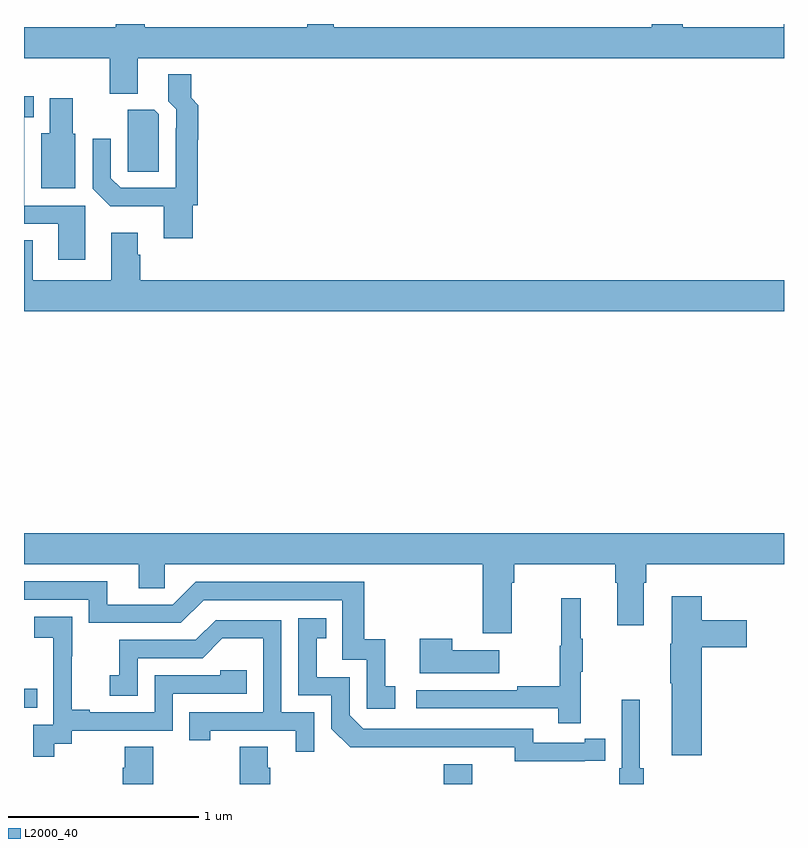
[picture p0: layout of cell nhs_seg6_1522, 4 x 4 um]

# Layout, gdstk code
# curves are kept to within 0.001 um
import gdstk
lib = gdstk.Library(unit=1e-6, precision=1e-09)
def R(c, l, rs):  # rectangles x0, y0, x1, y1
    for r in rs: c.add(gdstk.rectangle(r[:2], r[2:], *l))
def P(c, l, *ps):  # polygons
    for p in ps: c.add(gdstk.Polygon(p, *l))
L2000_40 = (2000, 40)

nhs_seg6_1522 = lib.new_cell('nhs_seg6_1522')
R(nhs_seg6_1522, L2000_40, [(205.208,959.5,205.36,959.605), (203,959.901,203.069,960.002)])
P(nhs_seg6_1522, L2000_40, [(203.599,963.32),(207,963.32),(207,963.5),(206.999,963.5),(206.999,963.484),(206.468,963.484),(206.468,963.5),(206.303,963.5),(206.303,963.484),(204.63,963.484),(204.63,963.5),(204.491,963.5),(204.491,963.484),(203.635,963.484),(203.635,963.5),(203.483,963.5),(203.483,963.484),(203,963.484),(203,963.32),(203.452,963.32),(203.452,963.133),(203.599,963.133)],
  [(203.888,962.547),(203.915,962.547),(203.915,962.89),(203.918,962.89),(203.918,963.072),(203.879,963.111),(203.879,963.235),(203.759,963.235),(203.759,963.094),(203.802,963.051),(203.802,962.951),(203.799,962.951),(203.799,962.637),(203.508,962.637),(203.457,962.688),(203.457,962.896),(203.361,962.896),(203.361,962.634),(203.455,962.54),(203.735,962.54),(203.735,962.373),(203.888,962.373)],
  [(203.323,962.544),(203.002,962.544),(203.002,963.008),(203.05,963.008),(203.05,963.121),(203,963.121),(203,962.448),(203.18,962.448),(203.18,962.259),(203.323,962.259)],
  [(203.269,962.922),(203.257,962.922),(203.257,963.109),(203.135,963.109),(203.135,962.926),(203.09,962.926),(203.09,962.636),(203.269,962.636)],
  [(203.709,963.024),(203.685,963.048),(203.546,963.048),(203.546,962.833),(203.547,962.833),(203.547,962.722),(203.709,962.722)],
  [(207,962.152),(203.612,962.152),(203.612,962.285),(203.599,962.285),(203.599,962.401),(203.459,962.401),(203.459,962.152),(203.047,962.152),(203.047,962.363),(203,962.363),(203,961.988),(207,961.988)],
  [(205.567,960.56),(205.58,960.56),(205.58,960.656),(206.111,960.656),(206.111,960.56),(206.123,960.56),(206.123,960.336),(206.263,960.336),(206.263,960.56),(206.276,960.56),(206.276,960.656),(207,960.656),(207,960.82),(203,960.82),(203,960.656),(203.603,960.656),(203.603,960.529),(203.742,960.529),(203.742,960.656),(205.415,960.656),(205.415,960.294),(205.567,960.294)],
  [(204.955,960.015),(204.902,960.015),(204.902,960.262),(204.791,960.262),(204.791,960.564),(203.904,960.564),(203.784,960.444),(203.437,960.444),(203.437,960.567),(203,960.567),(203,960.471),(203.34,960.471),(203.34,960.348),(203.826,960.348),(203.946,960.468),(204.675,960.468),(204.675,960.153),(204.804,960.153),(204.804,959.895),(204.955,959.895)],
  [(206.567,960.221),(206.803,960.221),(206.803,960.363),(206.567,960.363),(206.567,960.487),(206.408,960.487),(206.408,960.237),(206.401,960.237),(206.401,960.031),(206.408,960.031),(206.408,959.652),(206.567,959.652)],
  [(205.931,960.091),(205.942,960.091),(205.942,960.265),(205.931,960.265),(205.931,960.478),(205.828,960.478),(205.828,960.228),(205.821,960.228),(205.821,960.014),(205.597,960.014),(205.597,959.994),(205.065,959.994),(205.065,959.898),(205.813,959.898),(205.813,959.82),(205.931,959.82)],
  [(203.158,959.713),(203.25,959.713),(203.25,959.781),(203.784,959.781),(203.784,959.976),(204.173,959.976),(204.173,960.099),(204.033,960.099),(204.033,960.072),(203.688,960.072),(203.688,959.877),(203.347,959.877),(203.347,959.89),(203.252,959.89),(203.252,960.173),(203.253,960.173),(203.253,960.379),(203.055,960.379),(203.055,960.269),(203.153,960.269),(203.153,960.041),(203.154,960.041),(203.154,959.811),(203.049,959.811),(203.049,959.643),(203.158,959.643)],
  [(205.952,959.622),(206.06,959.622),(206.06,959.738),(205.952,959.738),(205.952,959.718),(205.68,959.718),(205.68,959.79),(204.786,959.79),(204.714,959.862),(204.714,960.063),(204.541,960.063),(204.541,960.267),(204.59,960.267),(204.59,960.373),(204.444,960.373),(204.444,959.967),(204.618,959.967),(204.618,959.79),(204.716,959.693),(205.584,959.694),(205.584,959.621)],
  [(204.528,959.877),(204.354,959.877),(204.354,960.363),(204.008,960.363),(203.903,960.258),(203.5,960.258),(203.5,960.073),(203.451,960.073),(203.451,959.964),(203.598,959.964),(203.598,960.162),(203.94,960.162),(204.044,960.266),(204.258,960.266),(204.258,959.877),(203.869,959.877),(203.869,959.73),(203.98,959.73),(203.98,959.781),(204.431,959.781),(204.431,959.67),(204.528,959.67)],
  [(205.501,960.205),(205.253,960.205),(205.253,960.265),(205.082,960.265),(205.082,960.083),(205.501,960.083)],
  [(206.261,959.584),(206.242,959.584),(206.242,959.944),(206.145,959.944),(206.145,959.584),(206.132,959.584),(206.132,959.5),(206.261,959.5)],
  [(203.679,959.696),(203.531,959.696),(203.531,959.586),(203.519,959.586),(203.519,959.5),(203.679,959.5)],
  [(204.296,959.586),(204.283,959.586),(204.283,959.696),(204.136,959.696),(204.136,959.5),(204.296,959.5)])

lib.write_gds('nhs_seg6_1522.gds')
